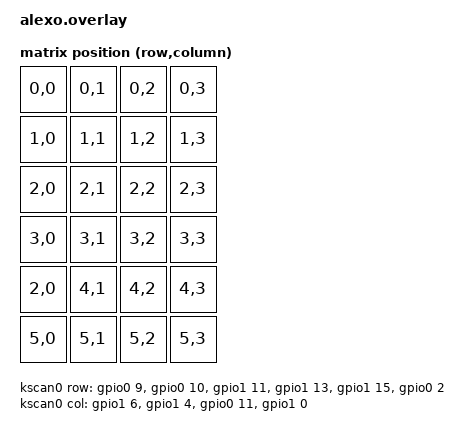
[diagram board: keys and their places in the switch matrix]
#include <dt-bindings/zmk/matrix_transform.h>

 /{
    chosen {
        zmk,kscan = &kscan0;
        zmk,matrix_transform = &matrix_transform0;
    };

    kscan0: kscan {
        compatible = "zmk,kscan-gpio-matrix";
        label = "numpad_kscan";

        row-gpios = <&gpio0 9  GPIO_ACTIVE_LOW>,   // Linha 1
                    <&gpio0 10 GPIO_ACTIVE_LOW>,   // Linha 2
                    <&gpio1 11 GPIO_ACTIVE_LOW>,   // Linha 3
                    <&gpio1 13 GPIO_ACTIVE_LOW>,   // Linha 4
                    <&gpio1 15 GPIO_ACTIVE_LOW>,   // Linha 5
                    <&gpio0 2  GPIO_ACTIVE_LOW>;   // Linha 6

        col-gpios = <&gpio1 6  GPIO_ACTIVE_LOW>,   // Coluna 1
                    <&gpio1 4  GPIO_ACTIVE_LOW>,   // Coluna 2
                    <&gpio0 11 GPIO_ACTIVE_LOW>,   // Coluna 3
                    <&gpio1 0  GPIO_ACTIVE_LOW>;   // Coluna 4

        diode-direction = "col2row";
        no-ghostkey-check;
    };

    matrix_transform0: matrix_transform {
        compatible = "zmk,matrix-transform";

        rows = <6>;
        columns = <4>;

        // Somente as posições que existem fisicamente
        map = <
            RC(0,0) RC(0,1) RC(0,2) RC(0,3) // linha 1
            RC(1,0) RC(1,1) RC(1,2) RC(1,3) // linha 2
            RC(2,0) RC(2,1) RC(2,2) RC(2,3) // linha 3 (coluna 1 não existe)
            RC(3,0) RC(3,1) RC(3,2) RC(3,3) // linha 4
            RC(2,0) RC(4,1) RC(4,2) RC(4,3) // linha 5 (coluna 1 não existe)
            RC(5,0) RC(5,1) RC(5,2) RC(5,3) // linha 6 (coluna 4 não existe)
        >;
    };
};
